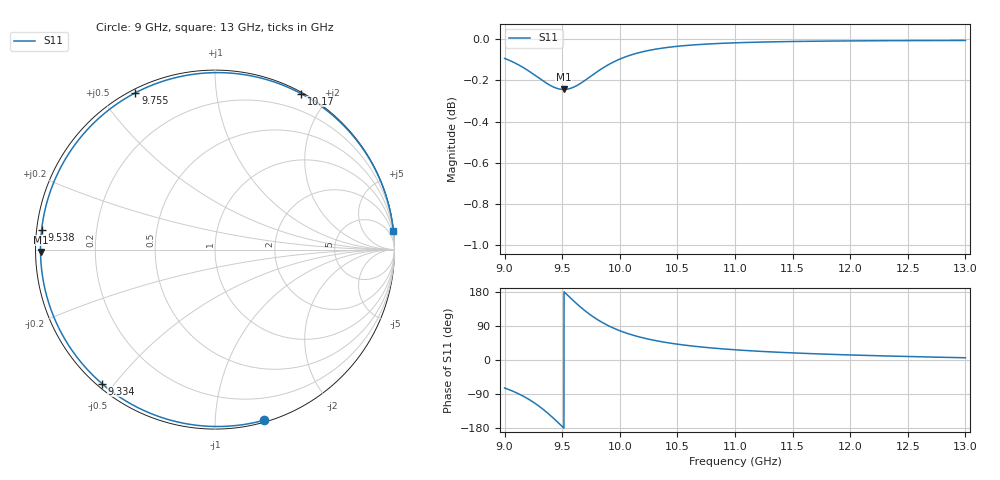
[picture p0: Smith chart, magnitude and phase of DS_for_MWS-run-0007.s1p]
! TOUCHSTONE file generated by CST DESIGN STUDIO
! Date and time: Tue Feb  4 12:41:17 2025
! Project name: C:\Work\MatlabApps\UnitCellOptimizationMatlab\CST\unitcell.cst
! Tree item: Tasks\Sweep1\SPara1\S-Parameters
! Header version: 2024
! Port assignment regex: !\s*Touchstone port\s*([0-9]+)\s*=\s*(CST MWS port|CST DES external port|CST DES block port)\s*(.+)\s* \(\"(.*)\"\)(\s*mode\s*([0-9]+))?.*
! Touchstone port assignment:
! Touchstone port 1 = CST DES external port 1 ("")
# GHz S MA R 50
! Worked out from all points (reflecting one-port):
!   4001 points, 9 GHz to 13 GHz, reference 50 ohm
!   lowest |S11| = -0.2 dB at 9.513 GHz (marker M1), VSWR 71.19, Z = 0.702 - j0.343 ohm
!   phase of S11 starts at -74 deg and turns -280 deg over the sweep
!   S11 on the Smith chart (normalised r, x): 9 GHz: 0.01, -1.33; 9.334 GHz: 0.01, -0.47; 9.538 GHz: 0.01, +0.06; 9.755 GHz: 0.01, +0.61; 10.17 GHz: 0.01, +1.69; 13 GHz: 0, +19
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9  0.9893 -73.8
9.09  0.9868 -84.8
9.194  0.983 -100.9
9.267  0.9799 -115.0
9.334  0.9769 -130.1
9.379  0.9751 -141.4
9.425  0.9736 -153.9
9.463  0.9727 -164.7
9.5  0.9723 -175.4
9.513  0.9723 -179.2
9.538  0.9724 173.5
9.592  0.9733 157.9
9.652  0.9753 141.5
9.703  0.9775 128.7
9.755  0.9798 116.9
9.806  0.9821 106.6
9.862  0.9844 96.6
10  0.989 77.3
10.08  0.9909 68.7
10.166  0.9925 61.1
10.318  0.9945 50.7
10.5  0.9961 41.7
10.722  0.9972 33.9
11  0.998 26.9
11.5  0.9987 18.7
12  0.9991 13.3
12.5  0.9992 9.2
13  0.9993 5.9
